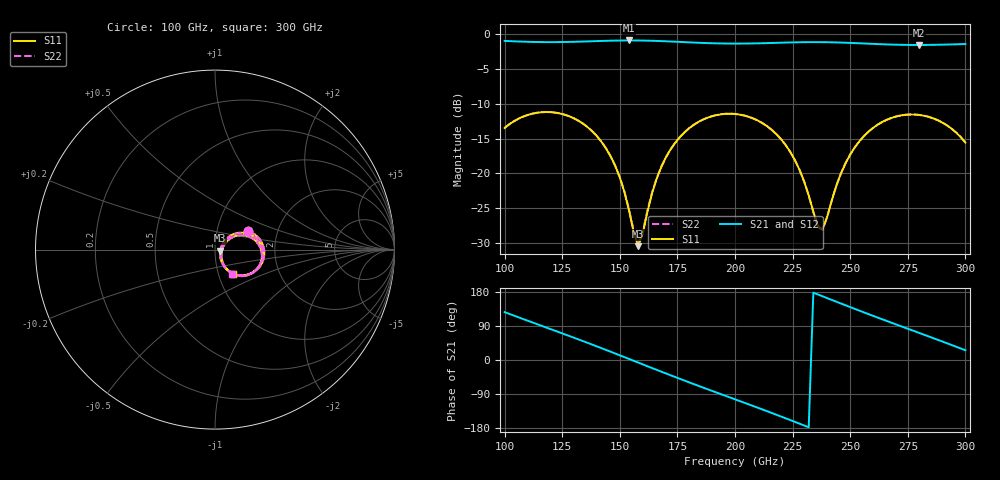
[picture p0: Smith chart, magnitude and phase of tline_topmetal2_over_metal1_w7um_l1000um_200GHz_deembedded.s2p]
! Created with skrf 2.2.0 (http://scikit-rf.org).
# GHz S DB R 50.0
! Port[1] = P1
! Port[2] = P2
!freq dBS11 angS11 dBS21 angS21 dBS12 angS12 dBS22 angS22
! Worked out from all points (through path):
!   101 points, 100 GHz to 300 GHz, reference 50 ohm
!   highest |S21| = -0.86 dB at 154 GHz (marker M1); lowest = -1.5 dB at 280 GHz (marker M2)
!   group delay of S21, straight-line fit = 6.42 ps
!   lowest |S11| = -30.5 dB at 158 GHz (marker M3), VSWR 1.06, Z = 53 - j0.573 ohm
!   |S11| at or under -10 dB: start of sweep to end of sweep
!   |S22| runs from -30.0 to -11.2 dB; largest |S21 - S12| = 1.5e-13
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100  -13.47 28.9  -0.92 126.4  -0.92 126.4  -13.46 28.6
116  -11.21 -2.8  -1.10 90.3  -1.10 90.3  -11.20 -3.0
124  -11.38 -18.7  -1.10 72.5  -1.10 72.5  -11.38 -18.8
134  -12.84 -38.4  -1.02 49.9  -1.02 49.9  -12.84 -38.5
146  -17.55 -59.1  -0.90 21.9  -0.90 21.9  -17.54 -58.9
154  -25.33 -56.7  -0.86 2.8  -0.86 2.8  -25.21 -55.6
158  -30.50 -10.4  -0.87 -6.8  -0.87 -6.8  -30.04 -10.4
168  -19.09 42.8  -0.96 -30.7  -0.96 -30.7  -19.04 41.5
176  -14.82 31.4  -1.07 -49.5  -1.07 -49.5  -14.79 30.5
184  -12.63 16.6  -1.19 -67.9  -1.19 -67.9  -12.62 15.8
200  -11.46 -14.3  -1.31 -103.8  -1.31 -103.8  -11.45 -15.1
210  -12.42 -33.3  -1.28 -126.2  -1.28 -126.2  -12.42 -34.1
220  -15.09 -50.9  -1.19 -149.2  -1.19 -149.2  -15.10 -51.7
228  -19.49 -59.6  -1.12 -168.0  -1.12 -168.0  -19.51 -60.4
234  -25.53 -47.2  -1.10 177.7  -1.10 177.7  -25.58 -48.0
238  -28.07 -2.4  -1.11 168.1  -1.11 168.1  -28.13 -2.8
250  -17.30 33.8  -1.22 139.6  -1.22 139.6  -17.29 33.2
260  -13.45 18.5  -1.36 116.4  -1.36 116.4  -13.44 17.8
268  -12.02 3.8  -1.46 98.2  -1.46 98.2  -12.01 3.1
280  -11.60 -18.8  -1.51 71.3  -1.51 71.3  -11.59 -19.6
290  -12.69 -37.3  -1.47 48.8  -1.47 48.8  -12.69 -38.1
300  -15.57 -53.7  -1.38 25.7  -1.38 25.7  -15.56 -54.4
